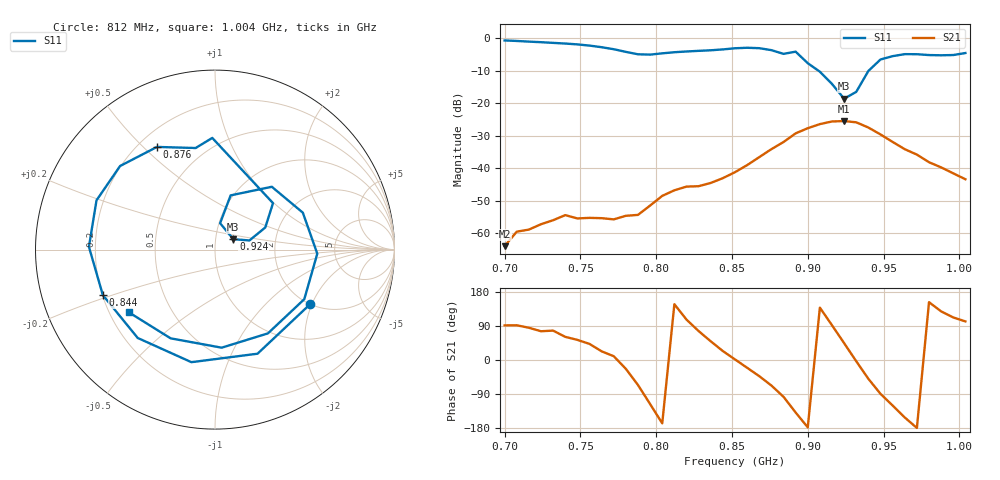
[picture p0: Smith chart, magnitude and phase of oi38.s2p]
# Hz S RI R 50
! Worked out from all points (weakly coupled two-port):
!   39 points, 700 MHz to 1.004 GHz, reference 50 ohm
!   highest |S21| = -25.48 dB at 924 MHz (marker M1); lowest = -64.0 dB at 700 MHz (marker M2)
!   lowest |S11| = -18.6 dB at 924 MHz (marker M3), VSWR 1.27, Z = 60.9 + j7.18 ohm
!   |S11| at or under -10 dB: 907.1 MHz to 940.1 MHz (32.98 MHz wide, 3.57 % of centre)
!   S12 and S22 are empty: the file has one direction only
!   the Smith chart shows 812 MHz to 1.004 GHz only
!   S11 on the Smith chart (normalised r, x): 812 MHz: 1.99, -1.94; 844 MHz: 0.20, -0.19; 876 MHz: 0.27, +0.55; 924 MHz: 1.22, +0.14; 1.004 GHz: 0.28, -0.30
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7e8  0.759 0.5312  -1.47e-05 0.000631  0 0  0 0
7.24e8  0.831 -0.2616  0.000335 0.00133  0 0  0 0
7.4e8  0.4461 -0.7002  0.000918 0.00166  0 0  0 0
7.56e8  -0.194 -0.7481  0.00127 0.00116  0 0  0 0
7.72e8  -0.6528 -0.1862  0.00161 0.000282  0 0  0 0
7.8e8  -0.5732 0.2312  0.0017 -0.000735  0 0  0 0
7.88e8  -0.2154 0.5251  0.000776 -0.00175  0 0  0 0
7.96e8  0.2656 0.4943  -0.00118 -0.00239  0 0  0 0
8.04e8  0.5706 0.1357  -0.00366 -0.000834  0 0  0 0
8.12e8  0.5289 -0.3052  -0.00385 0.00247  0 0  0 0
8.28e8  -0.1314 -0.6272  0.00125 0.00514  0 0  0 0
8.44e8  -0.6247 -0.2538  0.00645 0.00281  0 0  0 0
8.52e8  -0.7024 0.0155  0.00869 0.000231  0 0  0 0
8.76e8  -0.3232 0.5721  0.00758 -0.0181  0 0  0 0
8.92e8  -0.0152 0.6222  -0.0258 -0.0228  0 0  0 0
9e8  0.3232 0.2589  -0.0413 -0.00163  0 0  0 0
9.08e8  0.2801 0.1231  -0.0356 0.0319  0 0  0 0
9.24e8  0.1021 0.0582  0.038 0.0373  0 0  0 0
9.4e8  0.0872 0.3022  0.0274 -0.0323  0 0  0 0
9.56e8  0.4893 0.2059  -0.0128 -0.0219  0 0  0 0
9.8e8  0.2948 -0.4667  -0.011 0.00569  0 0  0 0
1.004e9  -0.4787 -0.3502  -0.00139 0.00663  0 0  0 0
